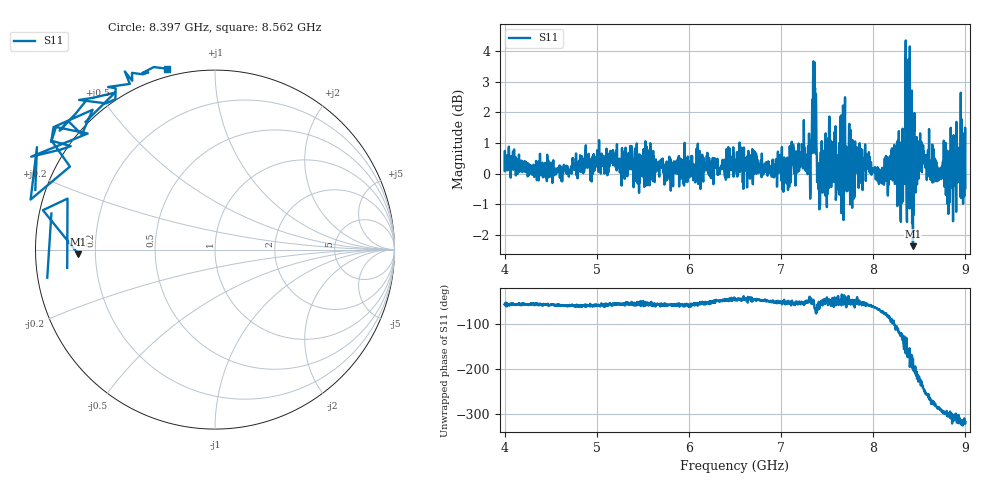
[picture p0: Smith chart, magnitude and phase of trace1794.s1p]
! Created with skrf 1.8.0 (http://scikit-rf.org).
# Hz S RI R 50.0
!freq ReS11 ImS11
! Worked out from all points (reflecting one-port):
!   1601 points, 4 GHz to 9 GHz, reference 50 ohm
!   lowest |S11| = -2.4 dB at 8.431 GHz (marker M1), VSWR 7.38, Z = 6.78 - j0.818 ohm
!   phase of S11 starts at -57 deg and turns -261 deg over the sweep
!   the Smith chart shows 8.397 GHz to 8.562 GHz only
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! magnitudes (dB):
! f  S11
! 4 GHz  0.1
! 4.625 GHz  -0.3
! 5.25 GHz  0.0
! 5.875 GHz  0.2
! 6.5 GHz  0.3
! 7.125 GHz  0.4
! 7.297 GHz  0.9
! 7.319 GHz  -0.5
! 7.356 GHz  3.5
! 7.372 GHz  2.3
! 7.4 GHz  0.3
! 7.428 GHz  0.4
! 7.538 GHz  0.9
! 7.612 GHz  0.0
! 7.669 GHz  1.6
! 7.75 GHz  -1.0
! 8.097 GHz  0.2
! 8.262 GHz  -1.1
! 8.312 GHz  0.9
! 8.334 GHz  0.6
! 8.347 GHz  1.0
! 8.375 GHz  3.3
! 8.394 GHz  -1.1
! 8.412 GHz  -0.6
! 8.431 GHz  -2.4
! 8.841 GHz  1.5
! 8.956 GHz  -0.2
! 9 GHz  -0.5
